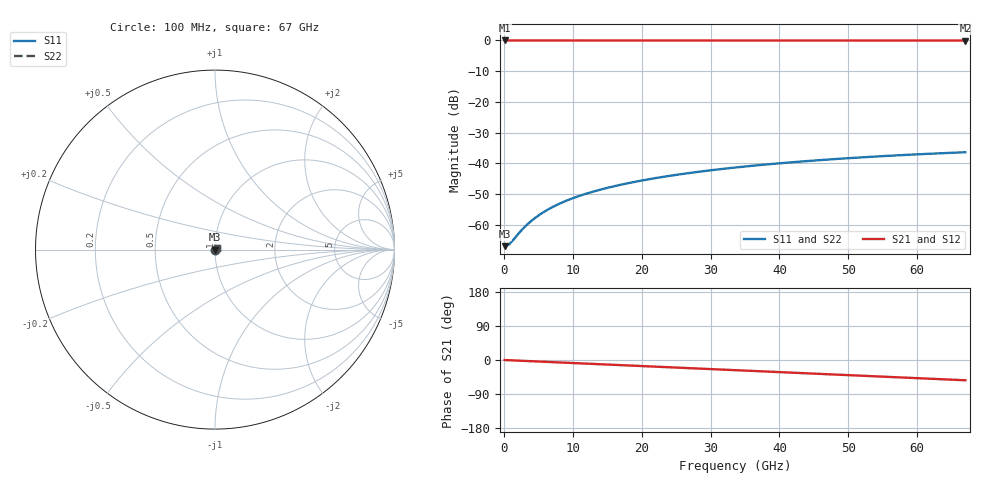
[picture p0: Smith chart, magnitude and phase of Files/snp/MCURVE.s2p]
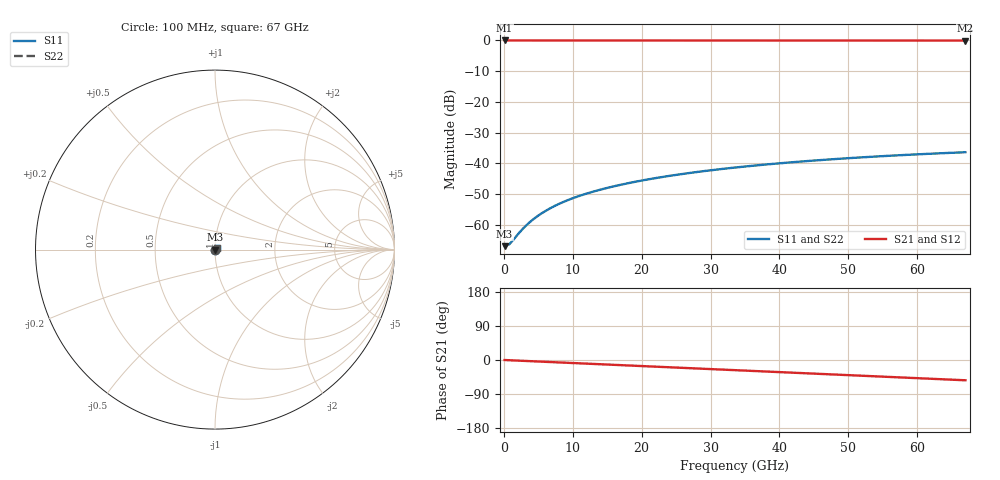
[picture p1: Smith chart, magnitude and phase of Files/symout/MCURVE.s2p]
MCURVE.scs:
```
simulator lang=local
global 0
NPORT0 1 0 2 0 nport file="E:\Saves\pycharm\HowToElementBuilder\Code\Files\snp\MCURVE.s2p"
PORT0 1 0 port r=50 num=1 type=sine rptstart=1 rpttimes=0
PORT1 2 0 port r=50 num=2 type=sine rptstart=1 rpttimes=0
SPSweep sp start=100000000 stop=67000000000 step=669000000.0 file="E:\Saves\pycharm\HowToElementBuilder\Code\Files\symout\MCURVE.s2p"
DEFAULT_OPTIONS options tnom=27 temp=27  acout=0 fast_spice=0 reltol=1.000000e-003 rawfmt=nutascii
```
Files/snp/MCURVE.s2p:
! Created with skrf (http://scikit-rf.org).
# Hz S RI R 50.0
!freq ReS11 ImS11 ReS21 ImS21 ReS12 ImS12 ReS22 ImS22
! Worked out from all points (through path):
!   100 points, 100 MHz to 67 GHz, reference 50 ohm
!   highest |S21| = 0.00 dB at 100 MHz (marker M1); lowest = 0.0 dB at 67 GHz (marker M2)
!   group delay of S21, straight-line fit = 2.22 ps
!   lowest |S11| = -67.0 dB at 100 MHz (marker M3), VSWR 1.00, Z = 50 + j0.00257 ohm
!   |S11| at or under -10 dB: start of sweep to end of sweep
!   |S22| runs from -67.0 to -36.4 dB; largest |S21 - S12| = 6e-14
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1e8  0.000446 2.56e-05  0.9995 -0.00139  0.9995 -0.00139  0.000446 2.56e-05
7.757576e8  0.000436 0.000199  0.9995 -0.0108  0.9995 -0.0108  0.000436 0.000199
3.478788e9  0.000523 0.000889  0.9982 -0.0485  0.9982 -0.0485  0.000523 0.000889
5.506061e9  0.000635 0.0014  0.9963 -0.0766  0.9963 -0.0766  0.000635 0.0014
8.209091e9  0.000851 0.00207  0.9925 -0.1141  0.9925 -0.1141  0.000851 0.00207
1.091212e10  0.00109 0.00272  0.9874 -0.1514  0.9874 -0.1514  0.00109 0.00272
1.496667e10  0.00149 0.00367  0.977 -0.2069  0.977 -0.2069  0.00149 0.00367
2.037273e10  0.00218 0.00486  0.9585 -0.2798  0.9585 -0.2798  0.00218 0.00486
3.388788e10  0.00461 0.00725  0.8885 -0.4541  0.8885 -0.4541  0.00461 0.00725
4.875455e10  0.0081 0.00864  0.7755 -0.6267  0.7755 -0.6267  0.0081 0.00864
6.7e10  0.0127 0.00825  0.5923 -0.801  0.5923 -0.801  0.0127 0.00825
Files/symout/MCURVE.s2p:
! Touchstone Ver. 1.0
! Number of ports is 2
# Hz  S RI  R  50
! SCATTERING PARAMETERS  :
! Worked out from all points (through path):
!   101 points, 100 MHz to 67 GHz, reference 50 ohm
!   highest |S21| = 0.00 dB at 100 MHz (marker M1); lowest = 0.0 dB at 67 GHz (marker M2)
!   group delay of S21, straight-line fit = 2.22 ps
!   lowest |S11| = -67.0 dB at 100 MHz (marker M3), VSWR 1.00, Z = 50 + j0.00257 ohm
!   |S11| at or under -10 dB: start of sweep to end of sweep
!   |S22| runs from -67.0 to -36.4 dB; largest |S21 - S12| = 0
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1e8  0.000446 2.56e-05  0.9995 -0.00139  0.9995 -0.00139  0.000446 2.56e-05
7.69e8  0.000436 0.000197  0.9995 -0.0107  0.9995 -0.0107  0.000436 0.000197
3.445e9  0.000522 0.00088  0.9982 -0.048  0.9982 -0.048  0.000522 0.00088
5.452e9  0.000632 0.00139  0.9964 -0.0759  0.9964 -0.0759  0.000632 0.00139
8.128e9  0.000844 0.00205  0.9927 -0.113  0.9927 -0.113  0.000844 0.00205
1.0804e10  0.00109 0.00269  0.9876 -0.1499  0.9876 -0.1499  0.00109 0.00269
1.4818e10  0.00147 0.00364  0.9775 -0.2049  0.9775 -0.2049  0.00147 0.00364
2.017e10  0.00215 0.00481  0.9592 -0.2771  0.9592 -0.2771  0.00215 0.00481
3.355e10  0.00454 0.00721  0.8906 -0.4499  0.8906 -0.4499  0.00454 0.00721
4.8937e10  0.00814 0.00865  0.7739 -0.6287  0.7739 -0.6287  0.00814 0.00865
6.7e10  0.0127 0.00825  0.5923 -0.801  0.5923 -0.801  0.0127 0.00825
